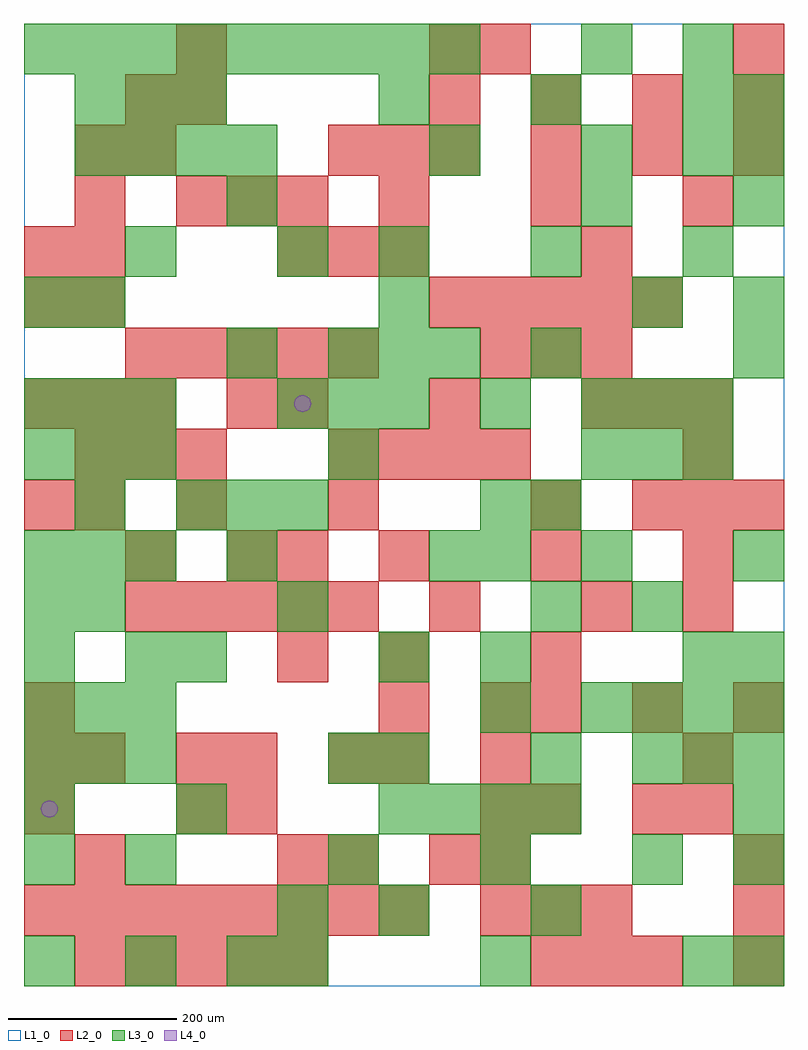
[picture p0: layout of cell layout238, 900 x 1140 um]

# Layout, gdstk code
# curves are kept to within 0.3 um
import gdstk
lib = gdstk.Library(unit=1e-6, precision=1e-09)
def R(c, l, rs):  # rectangles x0, y0, x1, y1
    for r in rs: c.add(gdstk.rectangle(r[:2], r[2:], *l))
def A(c, l, x, y, w, h, nx, ny, dx, dy):  # array of equal rectangles
    R(c, l, [(x+i*dx, y+j*dy, x+i*dx+w, y+j*dy+h) for i in range(nx) for j in range(ny)])
def P(c, l, *ps):  # polygons
    for p in ps: c.add(gdstk.Polygon(p, *l))
L1_0 = (1, 0)
L2_0 = (2, 0)
L3_0 = (3, 0)
L4_0 = (4, 0)

layout238 = lib.new_cell('layout238')
R(layout238, L1_0, [(0,0,900,1140)])
A(layout238, L2_0, 60, 0, 60, 60, 5, 1, 60, 0)
A(layout238, L2_0, 600, 0, 60, 60, 3, 1, 60, 0)
A(layout238, L2_0, 840, 0, 60, 60, 1, 3, 0, 60)
A(layout238, L2_0, 0, 60, 60, 60, 8, 1, 60, 0)
A(layout238, L2_0, 540, 60, 60, 60, 3, 2, 60, 660)
A(layout238, L2_0, 540, 120, 60, 60, 1, 4, 0, 60)
A(layout238, L2_0, 0, 180, 60, 60, 1, 3, 0, 60)
A(layout238, L2_0, 600, 180, 60, 60, 1, 3, 0, 180)
A(layout238, L2_0, 420, 240, 60, 60, 1, 3, 0, 60)
A(layout238, L2_0, 780, 240, 60, 60, 1, 3, 0, 180)
A(layout238, L2_0, 600, 300, 60, 60, 3, 2, 120, 660)
A(layout238, L2_0, 120, 420, 60, 60, 5, 2, 60, 300)
A(layout238, L2_0, 420, 480, 60, 60, 3, 2, 180, 420)
A(layout238, L2_0, 720, 540, 60, 60, 3, 1, 60, 0)
A(layout238, L2_0, 60, 600, 60, 60, 3, 1, 60, 0)
A(layout238, L2_0, 360, 600, 60, 60, 4, 1, 60, 0)
A(layout238, L2_0, 0, 660, 60, 60, 3, 1, 60, 0)
A(layout238, L2_0, 300, 660, 60, 60, 3, 1, 180, 0)
A(layout238, L2_0, 60, 780, 60, 60, 1, 4, 0, 60)
A(layout238, L2_0, 480, 780, 60, 60, 5, 1, 60, 0)
A(layout238, L2_0, 300, 840, 60, 60, 3, 1, 60, 0)
A(layout238, L2_0, 180, 900, 60, 60, 3, 1, 60, 0)
A(layout238, L2_0, 360, 960, 60, 60, 3, 1, 60, 0)
A(layout238, L2_0, 480, 1020, 60, 60, 4, 1, 120, 0)
R(layout238, L2_0, [(60,120,120,180), (300,120,360,180), (360,120,420,180), (480,120,540,180), (180,180,240,240), (240,180,300,240), (720,180,780,240), (780,180,840,240), (60,240,120,300), (180,240,240,300), (240,240,300,300), (360,240,420,300), (300,360,360,420), (480,420,540,480), (660,420,720,480), (120,480,180,540), (240,480,300,540), (300,480,360,540), (0,540,60,600), (60,540,120,600), (180,540,240,600), (360,540,420,600), (240,660,300,720), (720,660,780,720), (780,660,840,720), (0,780,60,840), (0,840,60,900), (660,840,720,900), (120,960,180,1020), (120,1020,180,1080), (180,1020,240,1080), (180,1080,240,1140), (480,1080,540,1140), (540,1080,600,1140), (840,1080,900,1140)])
A(layout238, L3_0, 0, 0, 60, 60, 3, 1, 120, 0)
A(layout238, L3_0, 300, 0, 60, 60, 3, 1, 240, 0)
A(layout238, L3_0, 600, 60, 60, 60, 1, 3, 0, 180)
A(layout238, L3_0, 360, 120, 60, 60, 3, 1, 180, 0)
A(layout238, L3_0, 420, 180, 60, 60, 4, 1, 60, 0)
A(layout238, L3_0, 0, 240, 60, 60, 3, 2, 60, 60)
A(layout238, L3_0, 720, 240, 60, 60, 3, 1, 60, 0)
A(layout238, L3_0, 660, 300, 60, 60, 4, 1, 60, 0)
A(layout238, L3_0, 0, 480, 60, 60, 3, 2, 60, 120)
A(layout238, L3_0, 180, 540, 60, 60, 3, 1, 60, 0)
A(layout238, L3_0, 660, 600, 60, 60, 3, 2, 60, 60)
A(layout238, L3_0, 0, 660, 60, 60, 3, 1, 60, 0)
A(layout238, L3_0, 300, 660, 60, 60, 3, 1, 60, 0)
A(layout238, L3_0, 360, 720, 60, 60, 3, 1, 60, 0)
A(layout238, L3_0, 420, 840, 60, 60, 3, 2, 180, 180)
A(layout238, L3_0, 840, 900, 60, 60, 1, 3, 0, 60)
A(layout238, L3_0, 60, 960, 60, 60, 4, 1, 60, 0)
A(layout238, L3_0, 60, 1020, 60, 60, 3, 1, 60, 0)
A(layout238, L3_0, 0, 1080, 60, 60, 9, 1, 60, 0)
R(layout238, L3_0, [(840,0,900,60), (300,60,360,120), (420,60,480,120), (0,120,60,180), (120,120,180,180), (840,120,900,180), (0,180,60,240), (180,180,240,240), (840,180,900,240), (360,240,420,300), (420,240,480,300), (540,300,600,360), (0,360,60,420), (120,360,180,420), (180,360,240,420), (420,360,480,420), (540,360,600,420), (780,360,840,420), (840,360,900,420), (0,420,60,480), (60,420,120,480), (300,420,360,480), (720,420,780,480), (240,480,300,540), (480,480,540,540), (540,480,600,540), (660,480,720,540), (840,480,900,540), (60,540,120,600), (540,540,600,600), (600,540,660,600), (360,600,420,660), (540,660,600,720), (240,720,300,780), (600,720,660,780), (840,720,900,780), (0,780,60,840), (60,780,120,840), (420,780,480,840), (720,780,780,840), (840,780,900,840), (120,840,180,900), (300,840,360,900), (240,900,300,960), (660,900,720,960), (480,960,540,1020), (660,960,720,1020), (780,960,840,1020), (660,1080,720,1140), (780,1080,840,1140)])
P(layout238, L4_0, [(40,210),(39.239,213.827),(37.071,217.071),(33.827,219.239),(30,220),(26.173,219.239),(22.929,217.071),(20.761,213.827),(20,210),(20.761,206.173),(22.929,202.929),(26.173,200.761),(30,200),(33.827,200.761),(37.071,202.929),(39.239,206.173)],
  [(340,690),(339.239,693.827),(337.071,697.071),(333.827,699.239),(330,700),(326.173,699.239),(322.929,697.071),(320.761,693.827),(320,690),(320.761,686.173),(322.929,682.929),(326.173,680.761),(330,680),(333.827,680.761),(337.071,682.929),(339.239,686.173)])

lib.write_gds('layout238.gds')
